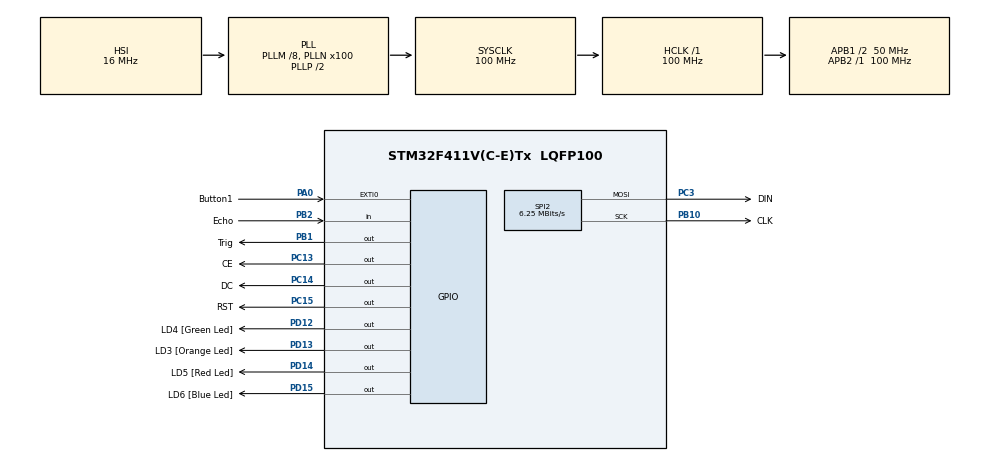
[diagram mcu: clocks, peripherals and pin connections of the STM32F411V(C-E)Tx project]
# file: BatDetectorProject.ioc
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Mcu.Family=STM32F4
Mcu.Name=STM32F411V(C-E)Tx
Mcu.Package=LQFP100
NVIC.PriorityGroup=NVIC_PRIORITYGROUP_0
NVIC.TIM1_UP_TIM10_IRQn=true\:0\:0\:false\:false\:true\:true\:true
PA0-WKUP.GPIO_Label=Button1
PA0-WKUP.GPIO_ModeDefaultEXTI=GPIO_MODE_EVT_RISING
PA0-WKUP.Signal=GPXTI0
PB1.GPIO_Label=Trig
PB1.Signal=GPIO_Output
PB10.GPIO_Label=CLK
PB10.Mode=TX_Only_Simplex_Unidirect_Master
PB10.Signal=SPI2_SCK
PB2.GPIO_Label=Echo
PB2.Signal=GPIO_Input
PC13-ANTI_TAMP.GPIO_Label=CE
PC13-ANTI_TAMP.Signal=GPIO_Output
PC14-OSC32_IN.GPIO_Label=DC
PC14-OSC32_IN.Signal=GPIO_Output
PC15-OSC32_OUT.GPIO_Label=RST
PC15-OSC32_OUT.Signal=GPIO_Output
PC3.GPIO_Label=DIN
PC3.Mode=TX_Only_Simplex_Unidirect_Master
PC3.Signal=SPI2_MOSI
PD12.GPIO_Label=LD4 [Green Led]
PD12.GPIO_PuPd=GPIO_NOPULL
PD12.GPIO_Speed=GPIO_SPEED_FREQ_LOW
PD12.Signal=GPIO_Output
PD13.GPIO_Label=LD3 [Orange Led]
PD13.GPIO_PuPd=GPIO_NOPULL
PD13.GPIO_Speed=GPIO_SPEED_FREQ_LOW
PD13.Signal=GPIO_Output
PD14.GPIO_Label=LD5 [Red Led]
PD14.GPIO_PuPd=GPIO_NOPULL
PD14.GPIO_Speed=GPIO_SPEED_FREQ_LOW
PD14.Signal=GPIO_Output
PD15.GPIO_Label=LD6 [Blue Led]
PD15.GPIO_PuPd=GPIO_NOPULL
PD15.GPIO_Speed=GPIO_SPEED_FREQ_LOW
PD15.Signal=GPIO_Output
ProjectManager.HeapSize=0x200
ProjectManager.StackSize=0x400
ProjectManager.TargetToolchain=STM32CubeIDE
RCC.48MHZClocksFreq_Value=25000000
RCC.AHBFreq_Value=100000000
RCC.APB1CLKDivider=RCC_HCLK_DIV2
RCC.APB1Freq_Value=50000000
RCC.APB1TimFreq_Value=100000000
RCC.APB2Freq_Value=100000000
RCC.APB2TimCLKDivider=1
RCC.APB2TimFreq_Value=100000000
RCC.CortexFreq_Value=100000000
RCC.HCLKFreq_Value=100000000
RCC.HSE_VALUE=8000000
RCC.HSI_VALUE=16000000
RCC.LSE_VALUE=32768
RCC.PLLI2SM=5
RCC.PLLI2SN=200
RCC.PLLM=8
RCC.PLLN=100
RCC.PLLQ=8
RCC.SYSCLKFreq_VALUE=100000000
RCC.SYSCLKSource=RCC_SYSCLKSOURCE_PLLCLK
RCC.VCOOutputFreq_Value=200000000
SPI2.BaudRatePrescaler=SPI_BAUDRATEPRESCALER_8
SPI2.CalculateBaudRate=6.25 MBits/s
SPI2.Direction=SPI_DIRECTION_2LINES
SPI2.Mode=SPI_MODE_MASTER
SPI2.VirtualType=VM_MASTER
TIM1.Period=0xffff - 1
TIM1.Prescaler=99
VP_TIM1_VS_ClockSourceINT.Mode=Internal
board=STM32F411E-DISCO

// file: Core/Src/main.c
/* USER CODE BEGIN Header */
/**
  ******************************************************************************
  * @file           : main.c
  * @brief          : Main program body
  ******************************************************************************
  * @attention
  *
  * <h2><center>&copy; Copyright (c) 2020 STMicroelectronics.
  * All rights reserved.</center></h2>
  *
  * This software component is licensed by ST under Ultimate Liberty license
  * SLA0044, the "License"; You may not use this file except in compliance with
  * the License. You may obtain a copy of the License at:
  *                             www.st.com/SLA0044
  *
  ******************************************************************************
  */
/* USER CODE END Header */
#include "main.h"

/* USER CODE BEGIN Includes */
#include "timer.h"
#include "screen.h"
#include "lcd5110.h"
#include "range_finder.h"
//#include "screen.h"

/* USER CODE END Includes */

SPI_HandleTypeDef hspi2;

TIM_HandleTypeDef htim1;

void SystemClock_Config(void);
static void MX_GPIO_Init(void);
static void MX_TIM1_Init(void);
static void MX_SPI2_Init(void);
/* USER CODE BEGIN PFP */
extern void initialise_monitor_handles();
/* USER CODE END PFP */

/* USER CODE BEGIN 0 */
LCD5110_display lcd1;
/* USER CODE END 0 */

int main(void)
{

  /* MCU Configuration--------------------------------------------------------*/

  /* Reset of all peripherals, Initializes the Flash interface and the Systick. */
  HAL_Init();

  /* Configure the system clock */
  SystemClock_Config();

  /* Initialize all configured peripherals */
  MX_GPIO_Init();
  MX_TIM1_Init();
  MX_SPI2_Init();
  /* USER CODE BEGIN 2 */

  HAL_TIM_Base_Start(&htim1);
  initialise_LCD(&lcd1, &hspi2);

  LCD5110_print("Starting!\n", BLACK, &lcd1);
  HAL_Delay(1000);
  float impulse = impulse_time(&htim1);
  int distance = (int) distance_with_time(impulse);
  LCD5110_clear_scr(&lcd1);
  LCD5110_set_cursor(0, 0, &lcd1);
  LCD5110_printf(&lcd1, BLACK, "Current dist.\n is %d cm\n", distance);
  HAL_Delay(1000);

  /* USER CODE END 2 */

  /* Infinite loop */
  while (1)
  {

    /* USER CODE BEGIN 3 */
	if (check_ultrasound(impulse, &htim1)){
		HAL_GPIO_WritePin(LED_Port, Blue_Pin, GPIO_PIN_SET);
		LCD5110_clear_scr(&lcd1);
		LCD5110_set_cursor(0, 0, &lcd1);
		LCD5110_printf(&lcd1, BLACK, "Current dist.\n is %d cm\n", distance);
		LCD5110_print("Ultrasound\n detected!\n", BLACK, &lcd1);
		HAL_Delay(500);
		LCD5110_clear_scr(&lcd1);
		LCD5110_set_cursor(0, 0, &lcd1);
		LCD5110_printf(&lcd1, BLACK, "Current dist.\n is %d cm\n", distance);
		HAL_Delay(100);
	}

	if (HAL_GPIO_ReadPin(Button_Port, Button_Pin) == GPIO_PIN_SET){
		LCD5110_clear_scr(&lcd1);
		LCD5110_set_cursor(0, 0, &lcd1);
		LCD5110_print("Recalibrating...\n", BLACK, &lcd1);
		HAL_Delay(1000);
		impulse = impulse_time(&htim1);
		distance = (int) distance_with_time(impulse);
		LCD5110_clear_scr(&lcd1);
		LCD5110_set_cursor(0, 0, &lcd1);
		LCD5110_printf(&lcd1, BLACK, "Current dist.\n is %d cm\n", distance);
	}
	HAL_GPIO_WritePin(LED_Port, Blue_Pin, GPIO_PIN_RESET);

  }
  /* USER CODE END 3 */
}

void SystemClock_Config(void)
{
  RCC_OscInitTypeDef RCC_OscInitStruct = {0};
  RCC_ClkInitTypeDef RCC_ClkInitStruct = {0};

  /** Configure the main internal regulator output voltage
  */
  __HAL_RCC_PWR_CLK_ENABLE();
  __HAL_PWR_VOLTAGESCALING_CONFIG(PWR_REGULATOR_VOLTAGE_SCALE1);
  /** Initializes the RCC Oscillators according to the specified parameters
  * in the RCC_OscInitTypeDef structure.
  */
  RCC_OscInitStruct.OscillatorType = RCC_OSCILLATORTYPE_HSI;
  RCC_OscInitStruct.HSIState = RCC_HSI_ON;
  RCC_OscInitStruct.HSICalibrationValue = RCC_HSICALIBRATION_DEFAULT;
  RCC_OscInitStruct.PLL.PLLState = RCC_PLL_ON;
  RCC_OscInitStruct.PLL.PLLSource = RCC_PLLSOURCE_HSI;
  RCC_OscInitStruct.PLL.PLLM = 8;
  RCC_OscInitStruct.PLL.PLLN = 100;
  RCC_OscInitStruct.PLL.PLLP = RCC_PLLP_DIV2;
  RCC_OscInitStruct.PLL.PLLQ = 8;
  if (HAL_RCC_OscConfig(&RCC_OscInitStruct) != HAL_OK)
  {
    Error_Handler();
  }
  /** Initializes the CPU, AHB and APB buses clocks
  */
  RCC_ClkInitStruct.ClockType = RCC_CLOCKTYPE_HCLK|RCC_CLOCKTYPE_SYSCLK
                              |RCC_CLOCKTYPE_PCLK1|RCC_CLOCKTYPE_PCLK2;
  RCC_ClkInitStruct.SYSCLKSource = RCC_SYSCLKSOURCE_PLLCLK;
  RCC_ClkInitStruct.AHBCLKDivider = RCC_SYSCLK_DIV1;
  RCC_ClkInitStruct.APB1CLKDivider = RCC_HCLK_DIV2;
  RCC_ClkInitStruct.APB2CLKDivider = RCC_HCLK_DIV1;

  if (HAL_RCC_ClockConfig(&RCC_ClkInitStruct, FLASH_LATENCY_3) != HAL_OK)
  {
    Error_Handler();
  }
}

static void MX_SPI2_Init(void)
{

  /* SPI2 parameter configuration*/
  hspi2.Instance = SPI2;
  hspi2.Init.Mode = SPI_MODE_MASTER;
  hspi2.Init.Direction = SPI_DIRECTION_2LINES;
  hspi2.Init.DataSize = SPI_DATASIZE_8BIT;
  hspi2.Init.CLKPolarity = SPI_POLARITY_LOW;
  hspi2.Init.CLKPhase = SPI_PHASE_1EDGE;
  hspi2.Init.NSS = SPI_NSS_SOFT;
  hspi2.Init.BaudRatePrescaler = SPI_BAUDRATEPRESCALER_8;
  hspi2.Init.FirstBit = SPI_FIRSTBIT_MSB;
  hspi2.Init.TIMode = SPI_TIMODE_DISABLE;
  hspi2.Init.CRCCalculation = SPI_CRCCALCULATION_DISABLE;
  hspi2.Init.CRCPolynomial = 10;
  if (HAL_SPI_Init(&hspi2) != HAL_OK)
  {
    Error_Handler();
  }

}

static void MX_TIM1_Init(void)
{

  TIM_ClockConfigTypeDef sClockSourceConfig = {0};
  TIM_MasterConfigTypeDef sMasterConfig = {0};

  htim1.Instance = TIM1;
  htim1.Init.Prescaler = 99;
  htim1.Init.CounterMode = TIM_COUNTERMODE_UP;
  htim1.Init.Period = 0xffff - 1;
  htim1.Init.ClockDivision = TIM_CLOCKDIVISION_DIV1;
  htim1.Init.RepetitionCounter = 0;
  htim1.Init.AutoReloadPreload = TIM_AUTORELOAD_PRELOAD_DISABLE;
  if (HAL_TIM_Base_Init(&htim1) != HAL_OK)
  {
    Error_Handler();
  }
  sClockSourceConfig.ClockSource = TIM_CLOCKSOURCE_INTERNAL;
  if (HAL_TIM_ConfigClockSource(&htim1, &sClockSourceConfig) != HAL_OK)
  {
    Error_Handler();
  }
  sMasterConfig.MasterOutputTrigger = TIM_TRGO_RESET;
  sMasterConfig.MasterSlaveMode = TIM_MASTERSLAVEMODE_DISABLE;
  if (HAL_TIMEx_MasterConfigSynchronization(&htim1, &sMasterConfig) != HAL_OK)
  {
    Error_Handler();
  }

}

static void MX_GPIO_Init(void)
{
  GPIO_InitTypeDef GPIO_InitStruct = {0};

  /* GPIO Ports Clock Enable */
  __HAL_RCC_GPIOC_CLK_ENABLE();
  __HAL_RCC_GPIOA_CLK_ENABLE();
  __HAL_RCC_GPIOB_CLK_ENABLE();
  __HAL_RCC_GPIOD_CLK_ENABLE();

  /*Configure GPIO pin Output Level */
  HAL_GPIO_WritePin(GPIOC, CE_Pin|DC_Pin|RST_Pin, GPIO_PIN_RESET);

  /*Configure GPIO pin Output Level */
  HAL_GPIO_WritePin(Trig_GPIO_Port, Trig_Pin, GPIO_PIN_RESET);

  /*Configure GPIO pin Output Level */
  HAL_GPIO_WritePin(GPIOD, LD4_Pin|LD3_Pin|LD5_Pin|LD6_Pin, GPIO_PIN_RESET);

  /*Configure GPIO pins : CE_Pin DC_Pin RST_Pin */
  GPIO_InitStruct.Pin = CE_Pin|DC_Pin|RST_Pin;
  GPIO_InitStruct.Mode = GPIO_MODE_OUTPUT_PP;
  GPIO_InitStruct.Pull = GPIO_NOPULL;
  GPIO_InitStruct.Speed = GPIO_SPEED_FREQ_LOW;
  HAL_GPIO_Init(GPIOC, &GPIO_InitStruct);

  /*Configure GPIO pin : Button1_Pin */
  GPIO_InitStruct.Pin = Button1_Pin;
  GPIO_InitStruct.Mode = GPIO_MODE_EVT_RISING;
  GPIO_InitStruct.Pull = GPIO_NOPULL;
  HAL_GPIO_Init(Button1_GPIO_Port, &GPIO_InitStruct);

  /*Configure GPIO pin : Trig_Pin */
  GPIO_InitStruct.Pin = Trig_Pin;
  GPIO_InitStruct.Mode = GPIO_MODE_OUTPUT_PP;
  GPIO_InitStruct.Pull = GPIO_NOPULL;
  GPIO_InitStruct.Speed = GPIO_SPEED_FREQ_LOW;
  HAL_GPIO_Init(Trig_GPIO_Port, &GPIO_InitStruct);

  /*Configure GPIO pin : Echo_Pin */
  GPIO_InitStruct.Pin = Echo_Pin;
  GPIO_InitStruct.Mode = GPIO_MODE_INPUT;
  GPIO_InitStruct.Pull = GPIO_NOPULL;
  HAL_GPIO_Init(Echo_GPIO_Port, &GPIO_InitStruct);

  /*Configure GPIO pins : LD4_Pin LD3_Pin LD5_Pin LD6_Pin */
  GPIO_InitStruct.Pin = LD4_Pin|LD3_Pin|LD5_Pin|LD6_Pin;
  GPIO_InitStruct.Mode = GPIO_MODE_OUTPUT_PP;
  GPIO_InitStruct.Pull = GPIO_NOPULL;
  GPIO_InitStruct.Speed = GPIO_SPEED_FREQ_LOW;
  HAL_GPIO_Init(GPIOD, &GPIO_InitStruct);

}

void Error_Handler(void)
{
}

/************************ (C) COPYRIGHT STMicroelectronics *****END OF FILE****/
